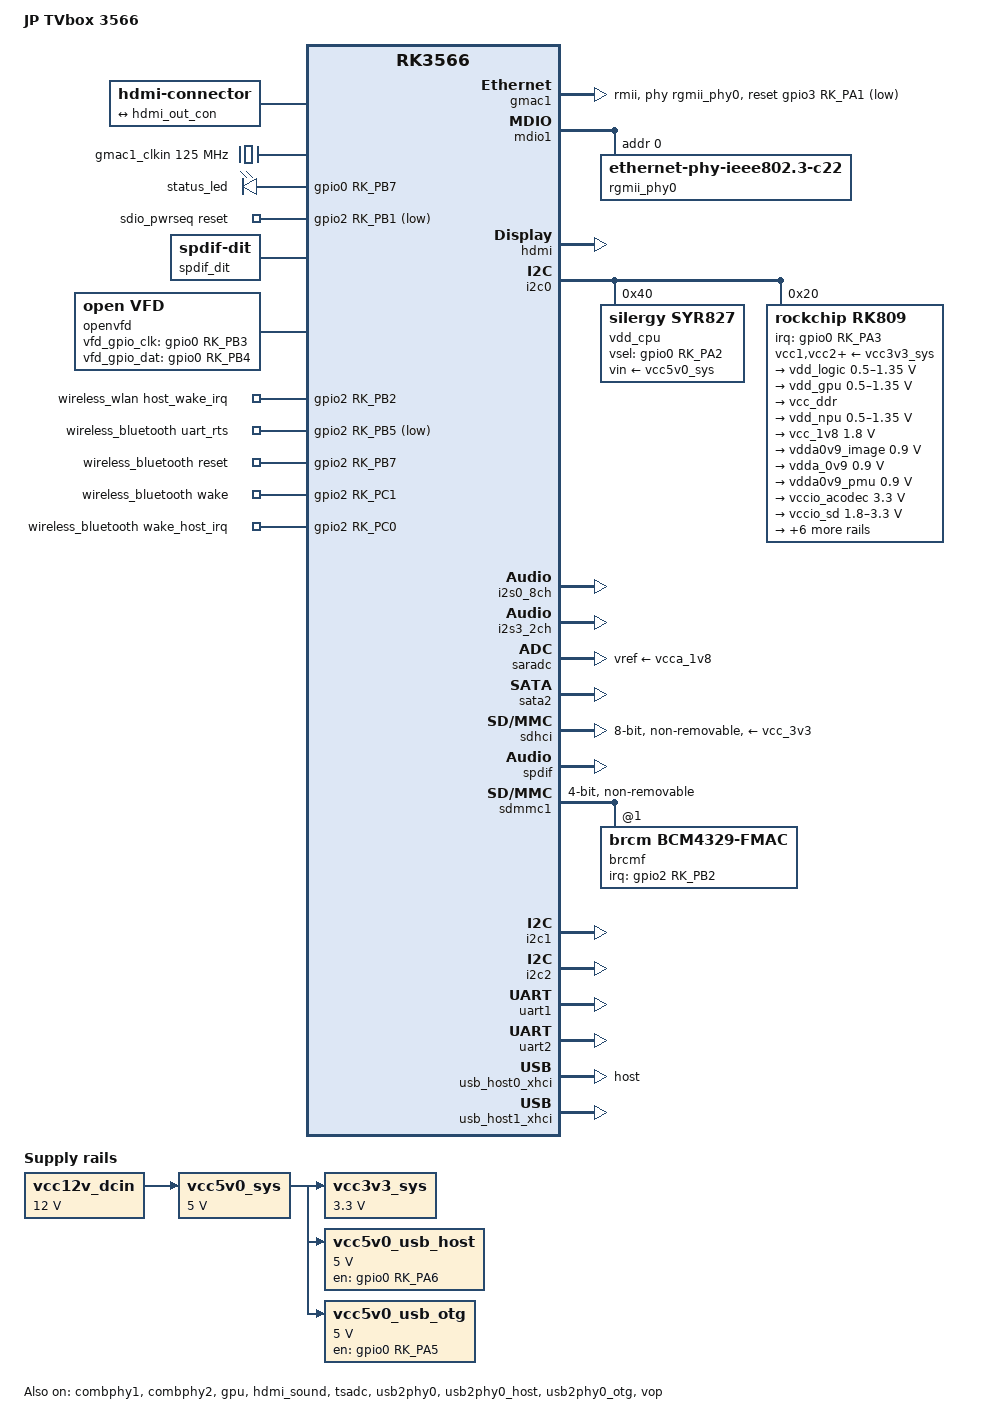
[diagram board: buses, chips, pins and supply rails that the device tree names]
// SPDX-License-Identifier: (GPL-2.0+ OR MIT)
/*
 * Copyright (c) 2023 tdleiyao <tdleiyao@gmail.com>
 */

/dts-v1/;

#include <dt-bindings/gpio/gpio.h>
#include <dt-bindings/input/input.h>
#include <dt-bindings/pinctrl/rockchip.h>
#include <dt-bindings/soc/rockchip,vop2.h>
#include "rk3566.dtsi"

/ {
	model = "JP TVbox 3566";
	compatible = "JP-TVbox,rk3566", "rockchip,rk3566";

	aliases {
		ethernet0 = &gmac1;
		mmc0 = &sdhci;
		mmc1 = &sdmmc1;
	};

	chosen: chosen {
		stdout-path = "serial2:1500000n8";
	};

	reserved_memory: reserved-memory {
		#address-cells = <2>;
		#size-cells = <2>;
		ranges;

		cma: cma {
			compatible = "shared-dma-pool";
			reusable;
			size = <0x0 0x10000000>;
			linux,cma-default;
		};

		ramoops: ramoops@110000 {
			compatible = "ramoops";
			reg = <0x0 0x110000 0x0 0xf0000>;
			record-size = <0x20000>;
			console-size = <0x80000>;
			ftrace-size = <0x00000>;
			pmsg-size = <0x50000>;
		};
	};

	hdmi-con {
		compatible = "hdmi-connector";
		type = "a";

		port {
			hdmi_con_in: endpoint {
				remote-endpoint = <&hdmi_out_con>;
			};
		};
	};

	gmac1_clkin: external-gmac1-clock {
		compatible = "fixed-clock";
		clock-frequency = <125000000>;
		clock-output-names = "gmac1_clkin";
		#clock-cells = <0>;
	};

	leds {
		compatible = "gpio-leds";
		pinctrl-names = "default";
//		pinctrl-0 =<&leds_gpio>;

		led@1 {
			gpios = <&gpio0 RK_PB7 GPIO_ACTIVE_HIGH>;
			label = "status_led";
			linux,default-trigger = "heartbeat";
		};
	};

	vcc12v_dcin: vcc12v-dcin {
		compatible = "regulator-fixed";
		regulator-name = "vcc12v_dcin";
		regulator-always-on;
		regulator-boot-on;
		regulator-min-microvolt = <12000000>;
		regulator-max-microvolt = <12000000>;
	};

	vcc5v0_sys: vcc5v0-sys-regulator {
		compatible = "regulator-fixed";
		regulator-name = "vcc5v0_sys";
		regulator-always-on;
		regulator-boot-on;
		regulator-min-microvolt = <5000000>;
		regulator-max-microvolt = <5000000>;
		vin-supply = <&vcc12v_dcin>;
	};

	vcc3v3_sys: vcc3v3-sys-regulator {
		compatible = "regulator-fixed";
		regulator-name = "vcc3v3_sys";
		regulator-always-on;
		regulator-boot-on;
		regulator-min-microvolt = <3300000>;
		regulator-max-microvolt = <3300000>;
		vin-supply = <&vcc5v0_sys>;
	};

	sdio_pwrseq: sdio-pwrseq {
		status = "okay";
		compatible = "mmc-pwrseq-simple";
		clocks = <&rk809 1>;
		clock-names = "ext_clock";
		pinctrl-names = "default";
		pinctrl-0 = <&wifi_enable_h>;
		reset-gpios = <&gpio2 RK_PB1 GPIO_ACTIVE_LOW>;
		post-power-on-delay-ms = <100>;
	};

	spdif_dit: spdif-dit {
		compatible = "linux,spdif-dit";
		#sound-dai-cells = <0>;
		status = "okay";
	};

	spdif_sound: spdif-sound {
		compatible = "simple-audio-card";
		simple-audio-card,name = "SPDIF";

		simple-audio-card,cpu {
			sound-dai = <&spdif>;
		};

		simple-audio-card,codec {
			sound-dai = <&spdif_dit>;
		};
	};
	
	openvfd: openvfd {
		compatible = "open,vfd";
		dev_name = "openvfd";
		status = "okay";
		vfd_gpio_clk = <&gpio0 RK_PB3 GPIO_ACTIVE_HIGH>;
		vfd_gpio_dat = <&gpio0 RK_PB4 GPIO_ACTIVE_HIGH>;
	};

	wireless_wlan: wireless-wlan {
		compatible = "wlan-platdata";
		rockchip,grf = <&grf>;
		wifi_chip_type = "ap6398s";
		status = "okay";
		pinctrl-names = "default";
		pinctrl-0 = <&wifi_host_wake_irq>; 
		WIFI,host_wake_irq = <&gpio2 RK_PB2 GPIO_ACTIVE_HIGH>;
	};

	wireless_bluetooth: wireless-bluetooth {
		compatible = "bluetooth-platdata";
		clocks = <&rk809 1>;
		clock-names = "ext_clock";
		//wifi-bt-power-toggle;
		uart_rts_gpios = <&gpio2 RK_PB5 GPIO_ACTIVE_LOW>;
		pinctrl-names = "default", "rts_gpio";
		pinctrl-0 = <&uart1m0_rtsn>;
		pinctrl-1 = <&uart1_gpios>;
//		wakeup-source;
		BT,reset_gpio    = <&gpio2 RK_PB7 GPIO_ACTIVE_HIGH>;
		BT,wake_gpio     = <&gpio2 RK_PC1 GPIO_ACTIVE_HIGH>;
		BT,wake_host_irq = <&gpio2 RK_PC0 GPIO_ACTIVE_HIGH>;
		status = "okay";
	};

	vcc5v0_usb_host: vcc5v0-usb-host {
		compatible = "regulator-fixed";
		regulator-name = "vcc5v0_usb_host";
		regulator-boot-on;
		regulator-always-on;
		regulator-min-microvolt = <5000000>;
		regulator-max-microvolt = <5000000>;		
		enable-active-high;
		gpio = <&gpio0 RK_PA6 GPIO_ACTIVE_HIGH>;
		pinctrl-names = "default";
		pinctrl-0 = <&vcc5v0_usb_host_en>;
		vin-supply = <&vcc5v0_sys>;
	};

	vcc5v0_usb_otg: vcc5v0-usb-otg {
		compatible = "regulator-fixed";
		regulator-name = "vcc5v0_usb_otg";
		regulator-always-on;
		regulator-boot-on;
		regulator-min-microvolt = <5000000>;
		regulator-max-microvolt = <5000000>;
		enable-active-high;
		gpio = <&gpio0 RK_PA5 GPIO_ACTIVE_HIGH>;
		pinctrl-names = "default";
		pinctrl-0 = <&vcc5v0_usb_otg_en>;
		vin-supply = <&vcc5v0_sys>;
	};


	vcc3v3_pcie: gpio-regulator {
		compatible = "regulator-fixed";
		regulator-name = "vcc3v3_pcie";
		regulator-min-microvolt = <3300000>;
		regulator-max-microvolt = <3300000>;
		enable-active-high;
		gpio = <&gpio0 RK_PC2 GPIO_ACTIVE_HIGH>;
		startup-delay-us = <5000>;
		vin-supply = <&vcc12v_dcin>;
		status = "disabled";
	};


};

&combphy1 {
	phy-supply = <&vcc5v0_usb_otg>;
	status = "okay";
};

&combphy2 {
	status = "okay";
};

&cpu0 {
	cpu-supply = <&vdd_cpu>;
};

&cpu1 {
	cpu-supply = <&vdd_cpu>;
};

&cpu2 {
	cpu-supply = <&vdd_cpu>;
};

&cpu3 {
	cpu-supply = <&vdd_cpu>;
};

&gpu {
	mali-supply = <&vdd_gpu>;
	status = "okay";
};

&gmac1 {
	phy-mode = "rmii";	
	clock_in_out = "output";

	snps,reset-gpio = <&gpio3 RK_PA1 GPIO_ACTIVE_LOW>;
	snps,reset-active-low;
	/* Reset time is 20ms, 100ms for rtl8211f */
	snps,reset-delays-us = <0 20000 100000>;

	assigned-clocks = <&cru SCLK_GMAC1_RX_TX>, <&cru SCLK_GMAC1>;
	assigned-clock-parents = <&cru SCLK_GMAC1_RMII_SPEED>;
	assigned-clock-rates = <0>, <25000000>;

	pinctrl-names = "default";
	pinctrl-0 = <&gmac1m0_miim
		     &gmac1m0_clkinout
			 &gmac1m0_rx_bus2
		     &gmac1m0_tx_bus2>;

	tx_delay = <0x4f>;
	rx_delay = <0x25>;

	phy-handle = <&rgmii_phy0>;
	status = "okay";
};

&mdio1 {
	rgmii_phy0: phy@0 {
		compatible = "ethernet-phy-ieee802.3-c22";
		reg = <0x0>;
	};
};

&hdmi {
	avdd-0v9-supply = <&vdda0v9_image>;
	avdd-1v8-supply = <&vcca1v8_image>;
	status = "okay";
};

&hdmi_in {
	hdmi_in_vp0: endpoint {
		remote-endpoint = <&vp0_out_hdmi>;
	};
};

&hdmi_out {
	hdmi_out_con: endpoint {
		remote-endpoint = <&hdmi_con_in>;
	};
};

&hdmi_sound {
	status = "okay";
};

&i2c0 {
	status = "okay";

	vdd_cpu: syr827@40 {
		compatible = "silergy,syr827";
		reg = <0x40>;
		vin-supply = <&vcc5v0_sys>;
		regulator-compatible = "fan53555-reg";
//?		pinctrl-names = "default";
		pinctrl-0 = <&vsel1_gpio>;
		vsel-gpios = <&gpio0 RK_PA2 GPIO_ACTIVE_HIGH>;
		regulator-name = "vdd_cpu";
		regulator-min-microvolt = <712500>;
		regulator-max-microvolt = <1500000>;
//		regulator-init-microvolt = <900000>;
		regulator-ramp-delay = <1000>;
		fcs,suspend-voltage-selector = <1>;
		regulator-always-on;
		regulator-boot-on;
		regulator-initial-state = <3>;
			regulator-state-mem {
			regulator-on-in-suspend;
			regulator-suspend-microvolt = <900000>;
		};
	};	

	rk809: pmic@20 {
		compatible = "rockchip,rk809";
		reg = <0x20>;
		interrupt-parent = <&gpio0>;
		interrupts = <RK_PA3 IRQ_TYPE_LEVEL_LOW>;
		assigned-clocks = <&cru I2S1_MCLKOUT_TX>;
		assigned-clock-parents = <&cru CLK_I2S1_8CH_TX>;
		#clock-cells = <1>;
		clock-names = "mclk";
		clocks = <&cru I2S1_MCLKOUT_TX>;
		clock-output-names = "rk808-clkout1", "rk808-clkout2";
		pinctrl-names = "default";
		pinctrl-0 = <&pmic_int_l>, <&i2s1m0_mclk>;
		rockchip,system-power-controller;
		#sound-dai-cells = <0>;
		wakeup-source;

		vcc1-supply = <&vcc3v3_sys>;
		vcc2-supply = <&vcc3v3_sys>;
		vcc3-supply = <&vcc3v3_sys>;
		vcc4-supply = <&vcc3v3_sys>;
		vcc5-supply = <&vcc3v3_sys>;
		vcc6-supply = <&vcc3v3_sys>;
		vcc7-supply = <&vcc3v3_sys>;
		vcc8-supply = <&vcc3v3_sys>;
		vcc9-supply = <&vcc3v3_sys>;

		regulators {
			vdd_logic: DCDC_REG1 {
				regulator-name = "vdd_logic";
				regulator-always-on;
				regulator-boot-on;
				regulator-min-microvolt = <500000>;
				regulator-max-microvolt = <1350000>;
				regulator-init-microvolt = <900000>;
				regulator-ramp-delay = <6001>;
				regulator-initial-mode = <0x2>;
				regulator-state-mem {
					regulator-off-in-suspend;
				};
			};

			vdd_gpu: DCDC_REG2 {
				regulator-name = "vdd_gpu";
				regulator-always-on;
				regulator-boot-on;
				regulator-min-microvolt = <500000>;
				regulator-max-microvolt = <1350000>;
				regulator-init-microvolt = <900000>;
				regulator-ramp-delay = <6001>;
				regulator-initial-mode = <0x2>;
					regulator-state-mem {
					regulator-off-in-suspend;
				};
			};

			vcc_ddr: DCDC_REG3 {
				regulator-always-on;
				regulator-boot-on;
				regulator-initial-mode = <0x2>;
				regulator-name = "vcc_ddr";
				regulator-state-mem {
					regulator-on-in-suspend;
				};
			};

			vdd_npu: DCDC_REG4 {
				regulator-always-on;
				regulator-boot-on;
				regulator-min-microvolt = <500000>;
				regulator-max-microvolt = <1350000>;
				regulator-init-microvolt = <900000>;
				regulator-initial-mode = <0x2>;
				regulator-name = "vdd_npu";
				regulator-state-mem {
					regulator-off-in-suspend;
				};
			};

			vcc_1v8: DCDC_REG5 {
				regulator-name = "vcc_1v8";
				regulator-always-on;
				regulator-boot-on;
				regulator-min-microvolt = <1800000>;
				regulator-max-microvolt = <1800000>;
				regulator-state-mem {
					regulator-off-in-suspend;
				};
			};

			vdda0v9_image: LDO_REG1 {
				regulator-always-on;
				regulator-boot-on;
				regulator-min-microvolt = <900000>;
				regulator-max-microvolt = <900000>;
				regulator-name = "vdda0v9_image";
				regulator-state-mem {
					regulator-off-in-suspend;
				};
			};

			vdda_0v9: LDO_REG2 {
				regulator-always-on;
				regulator-boot-on;
				regulator-min-microvolt = <900000>;
				regulator-max-microvolt = <900000>;
				regulator-name = "vdda_0v9";
				regulator-state-mem {
					regulator-off-in-suspend;
				};
			};

			vdda0v9_pmu: LDO_REG3 {
				regulator-always-on;
				regulator-boot-on;
				regulator-min-microvolt = <900000>;
				regulator-max-microvolt = <900000>;
				regulator-name = "vdda0v9_pmu";
				regulator-state-mem {
					regulator-on-in-suspend;
					regulator-suspend-microvolt = <900000>;
				};
			};

			vccio_acodec: LDO_REG4 {
				regulator-always-on;
				regulator-boot-on;
				regulator-min-microvolt = <3300000>;
				regulator-max-microvolt = <3300000>;
				regulator-name = "vccio_acodec";
				regulator-state-mem {
					regulator-off-in-suspend;
				};
			};

			vccio_sd: LDO_REG5 {
				regulator-always-on;
				regulator-boot-on;
				regulator-min-microvolt = <1800000>;
				regulator-max-microvolt = <3300000>;
				regulator-name = "vccio_sd";
				regulator-state-mem {
					regulator-off-in-suspend;
				};
			};

			vcc3v3_pmu: LDO_REG6 {
				regulator-always-on;
				regulator-boot-on;
				regulator-min-microvolt = <3300000>;
				regulator-max-microvolt = <3300000>;
				regulator-name = "vcc3v3_pmu";
				regulator-state-mem {
					regulator-on-in-suspend;
					regulator-suspend-microvolt = <3300000>;
				};
			};

			vcca_1v8: LDO_REG7 {
				regulator-always-on;
				regulator-boot-on;
				regulator-min-microvolt = <1800000>;
				regulator-max-microvolt = <1800000>;
				regulator-name = "vcca_1v8";
				regulator-state-mem {
					regulator-off-in-suspend;
				};
			};

			vcca1v8_pmu: LDO_REG8 {
				regulator-always-on;
				regulator-boot-on;
				regulator-min-microvolt = <1800000>;
				regulator-max-microvolt = <1800000>;
				regulator-name = "vcca1v8_pmu";
				regulator-state-mem {
					regulator-on-in-suspend;
					regulator-suspend-microvolt = <1800000>;
				};
			};

			vcca1v8_image: LDO_REG9 {
				regulator-always-on;
				regulator-boot-on;
				regulator-min-microvolt = <1800000>;
				regulator-max-microvolt = <1800000>;
				regulator-name = "vcca1v8_image";
				regulator-state-mem {
					regulator-off-in-suspend;
				};
			};

			vcc_3v3: SWITCH_REG1 {
				regulator-name = "vcc_3v3";
				regulator-state-mem {
					regulator-off-in-suspend;
				};
			};

			vcc3v3_sd: SWITCH_REG2 {
				regulator-name = "vcc3v3_sd";
				regulator-state-mem {
					regulator-off-in-suspend;
				};
			};

		};

		codec {
			mic-in-differential;
		};
	};
};

&i2s0_8ch {
	status = "okay";
};

&i2s1_8ch {
	status = "disabled";
	rockchip,clk-trcm = <1>;
	pinctrl-names = "default";
	pinctrl-0 = <&i2s1m0_sclktx
		     &i2s1m0_lrcktx
		     &i2s1m0_sdi0
		     &i2s1m0_sdo0>;
};


&i2s3_2ch{
	pinctrl-0 = <&i2s3m1_sclk
		     &i2s3m1_lrck
		     &i2s3m1_sdi
		     &i2s3m1_sdo>;	
	status = "okay";
};

&pinctrl {

	pmic {
		pmic_int_l: pmic-int-l {
			rockchip,pins =
				<0 RK_PA3 RK_FUNC_GPIO &pcfg_pull_up>;
		};

		soc_slppin_gpio: soc_slppin_gpio {
			rockchip,pins =
				<0 RK_PA2 RK_FUNC_GPIO &pcfg_output_low>;
		};

		soc_slppin_slp: soc_slppin_slp {
			rockchip,pins =
				<0 RK_PA2 1 &pcfg_pull_up>;
		};

		soc_slppin_rst: soc_slppin_rst {
			rockchip,pins =
				<0 RK_PA2 2 &pcfg_pull_none>;
		};
		
		vsel1_gpio: vsel1-gpio {
			rockchip,pins = <0 RK_PA2 0 &pcfg_pull_down>;
		};		
		
	};

	sdio-pwrseq {
		wifi_enable_h: wifi-enable-h {
			rockchip,pins = <2 RK_PB1 RK_FUNC_GPIO &pcfg_pull_none>;
		};
	};

	wireless-wlan {
		wifi_host_wake_irq: wifi-host-wake-irq {
			rockchip,pins = <2 RK_PB2 RK_FUNC_GPIO &pcfg_pull_down>;
		};
	};

	wireless-bluetooth {
        uart8_gpios: uart8-gpios {
            rockchip,pins = <2  RK_PB1 RK_FUNC_GPIO &pcfg_pull_none>;
        };	
	
        uart1_gpios: uart1-gpios {
            rockchip,pins = <2  RK_PB5 RK_FUNC_GPIO &pcfg_pull_none>;
        };
	
	};	

	bt {
		bt_enable_h: bt-enable-h {
			rockchip,pins = <2 RK_PB7 RK_FUNC_GPIO &pcfg_pull_none>;
		};

		bt_host_wake_l: bt-host-wake-l {
			rockchip,pins = <2 RK_PC0 RK_FUNC_GPIO &pcfg_pull_none>;
		};

		bt_wake_l: bt-wake-l {
			rockchip,pins = <2 RK_PC1 RK_FUNC_GPIO &pcfg_pull_none>;
		};
	};

	// leds {
	// 	led_work_enable_h: led-work-enable-h {
	// 		rockchip,pins = <0 RK_PD4 RK_FUNC_GPIO &pcfg_pull_none>;
	// 	};
	// };

	headphone {
		hp_det: hp-det {
			rockchip,pins = <1 RK_PA2 RK_FUNC_GPIO &pcfg_pull_down>;
		};
	};

	usb {
		vcc5v0_usb_otg_en: vcc5v0-usb-otg-en {
			rockchip,pins = <0 RK_PA5 RK_FUNC_GPIO &pcfg_pull_none>;
		};

		vcc5v0_usb_host_en: vcc5v0-usb-host-en {
			rockchip,pins = <0 RK_PA6 RK_FUNC_GPIO &pcfg_pull_none>;
		};
	};

};

&pmu_io_domains {
	pmuio1-supply = <&vcc3v3_pmu>;
	pmuio2-supply = <&vcc3v3_pmu>;
	vccio1-supply = <&vccio_acodec>;
	vccio3-supply = <&vccio_sd>;
	vccio4-supply = <&vcc_1v8>;
	vccio5-supply = <&vcc_3v3>;
	vccio6-supply = <&vcc_1v8>;
	vccio7-supply = <&vcc_3v3>;
	status = "okay";
};

&saradc {
	vref-supply = <&vcca_1v8>;
	status = "okay";
};

&sata2 {
	status = "okay";
};

&sdhci {
	bus-width = <8>;
	mmc-hs200-1_8v;
	non-removable;
	vmmc-supply = <&vcc_3v3>;
	vqmmc-supply = <&vcc_1v8>;
	status = "okay";
};

/* spdif is exposed on con40 pin 18 */
&spdif {
	status = "okay";
};

&sdmmc1 {
	status = "okay";

	bus-width = <4>;
	max-frequency = <200000000>;
	cap-sd-highspeed;
	sd-uhs-sdr50;
	sd-uhs-ddr50;
	sd-uhs-sdr104;

	supports-sdio;
	disable-wp;
	cap-sdio-irq;
	keep-power-in-suspend;
	non-removable;
	rockchip,default-sample-phase=<90>;
	mmc-pwrseq = <&sdio_pwrseq>;
	pinctrl-names = "default";
	pinctrl-0 = <&sdmmc1_bus4 &sdmmc1_cmd &sdmmc1_clk>;
	#address-cells = <1>;
	#size-cells = <0>;

	brcmf: wifi@1 {
		compatible = "brcm,bcm4329-fmac";
		reg = <1>;
		interrupt-parent = <&gpio2>;
		interrupts = <RK_PB2 IRQ_TYPE_LEVEL_HIGH>;
		interrupt-names = "host-wake";
		pinctrl-names = "default";
		pinctrl-0 = <&wifi_host_wake_irq>;
	};
};

&tsadc {
	status = "okay";
};

&i2c1 {
	status = "okay";
};

&i2c2 {
	pinctrl-0 = <&i2c2m1_xfer>;
	status = "okay";
};

&uart0 {
	status = "disabled";
};

&uart1 {
	status = "okay";
	pinctrl-names = "default";
	pinctrl-0 = <&uart1m0_xfer &uart1m0_ctsn>;
};

&uart2 {
	status = "okay";
};

&usb_host0_xhci {
	dr_mode = "host";
	status = "okay";
};

&usb2phy0 {
	status = "okay";
};

&usb2phy1 {
	status = "okay";
};

&usb2phy0_host {
	phy-supply = <&vcc5v0_usb_otg>;
	status = "okay";
};

&usb2phy0_otg {
	phy-supply = <&vcc5v0_usb_otg>;
	status = "okay";
};

&usb_host1_xhci {
	status = "okay";
};

&usb2phy1 {
	status = "disabled";
};

&usb2phy1_host {
	status = "disabled";
};

&usb2phy1_otg {
	status = "disabled";
};

&vop {
	assigned-clocks = <&cru DCLK_VOP0>, <&cru DCLK_VOP1>;
	assigned-clock-parents = <&pmucru PLL_HPLL>, <&cru PLL_VPLL>;
	status = "okay";
};

&vop_mmu {
	status = "okay";
};

&vp0 {
	vp0_out_hdmi: endpoint@ROCKCHIP_VOP2_EP_HDMI0 {
		reg = <ROCKCHIP_VOP2_EP_HDMI0>;
		remote-endpoint = <&hdmi_in_vp0>;
	};
};

&cpu0_opp_table {

	opp-1416000000 {
		opp-microvolt = <950000 950000 1150000>;
	};

	opp-1608000000 {
		opp-microvolt = <1050000 1050000 1150000>;
	};

	opp-1800000000 {
		opp-microvolt = <1150000 1150000 1150000>;
	};
};
